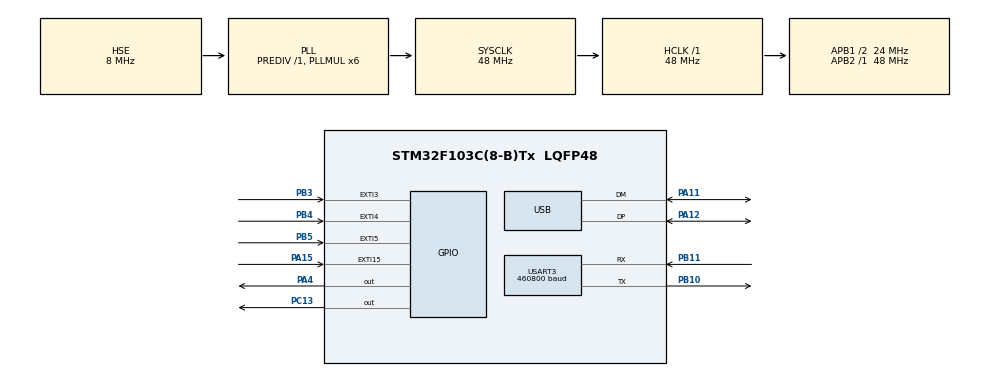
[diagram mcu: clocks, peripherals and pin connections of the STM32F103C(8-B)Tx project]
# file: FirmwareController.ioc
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Mcu.Family=STM32F1
Mcu.Name=STM32F103C(8-B)Tx
Mcu.Package=LQFP48
NVIC.EXTI15_10_IRQn=true\:0\:0\:false\:false\:true\:true\:true\:true
NVIC.EXTI3_IRQn=true\:0\:0\:false\:false\:true\:true\:true\:true
NVIC.EXTI4_IRQn=true\:0\:0\:false\:false\:true\:true\:true\:true
NVIC.EXTI9_5_IRQn=true\:0\:0\:false\:false\:true\:true\:true\:true
NVIC.PriorityGroup=NVIC_PRIORITYGROUP_4
NVIC.USART3_IRQn=true\:0\:0\:false\:false\:true\:true\:true\:true
NVIC.USB_HP_CAN1_TX_IRQn=true\:0\:0\:false\:false\:true\:true\:true\:true
NVIC.USB_LP_CAN1_RX0_IRQn=true\:0\:0\:false\:false\:true\:true\:true\:true
PA11.Mode=Device
PA11.Signal=USB_DM
PA12.Mode=Device
PA12.Signal=USB_DP
PA15.GPIO_ModeDefaultEXTI=GPIO_MODE_IT_RISING
PA15.Signal=GPXTI15
PA4.Signal=GPIO_Output
PB10.Mode=Asynchronous
PB10.Signal=USART3_TX
PB11.Mode=Asynchronous
PB11.Signal=USART3_RX
PB3.Signal=GPXTI3
PB4.Signal=GPXTI4
PB5.Signal=GPXTI5
PC13-TAMPER-RTC.Signal=GPIO_Output
PD0-OSC_IN.Mode=HSE-External-Oscillator
PD0-OSC_IN.Signal=RCC_OSC_IN
PD1-OSC_OUT.Mode=HSE-External-Oscillator
PD1-OSC_OUT.Signal=RCC_OSC_OUT
ProjectManager.HeapSize=0x200
ProjectManager.StackSize=0x400
ProjectManager.TargetToolchain=STM32CubeIDE
RCC.AHBFreq_Value=48000000
RCC.APB1CLKDivider=RCC_HCLK_DIV2
RCC.APB1Freq_Value=24000000
RCC.APB1TimFreq_Value=48000000
RCC.APB2Freq_Value=48000000
RCC.APB2TimFreq_Value=48000000
RCC.HCLKFreq_Value=48000000
RCC.PLLMUL=RCC_PLL_MUL6
RCC.PLLSourceVirtual=RCC_PLLSOURCE_HSE
RCC.SYSCLKFreq_VALUE=48000000
RCC.SYSCLKSource=RCC_SYSCLKSOURCE_PLLCLK
RCC.USBFreq_Value=48000000
TIM1.Prescaler=48 - 1
USART3.BaudRate=460800
USART3.VirtualMode=VM_ASYNC
USB_DEVICE.CLASS_NAME_FS=CDC
USB_DEVICE.VirtualMode=Cdc
USB_DEVICE.VirtualModeFS=Cdc_FS
VP_SYS_VS_ND.Mode=No_Debug
VP_TIM1_VS_ClockSourceINT.Mode=Internal
VP_USB_DEVICE_VS_USB_DEVICE_CDC_FS.Mode=CDC_FS
board=custom

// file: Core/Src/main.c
/* USER CODE BEGIN Header */
/**
  ******************************************************************************
  * @file           : main.c
  * @brief          : Main program body
  ******************************************************************************
  * @attention
  *
  * Copyright (c) 2026 STMicroelectronics.
  * All rights reserved.
  *
  * This software is licensed under terms that can be found in the LICENSE file
  * in the root directory of this software component.
  * If no LICENSE file comes with this software, it is provided AS-IS.
  *
  ******************************************************************************
  */
/* USER CODE END Header */
#include "main.h"
#include "usb_device.h"

/* USER CODE BEGIN Includes */
#include "usbd_cdc_if.h"
#include <stdbool.h>
/* USER CODE END Includes */

/* USER CODE BEGIN PD */
#define FRAME_DATA_LENGTH 589 // bytes
#define SWITCH_DATA_LENGTH 2 // bytes
#define CYCLE_MIN_US 26000
/* USER CODE END PD */

TIM_HandleTypeDef htim1;

UART_HandleTypeDef huart3;

/* USER CODE BEGIN PV */

uint8_t switch_data_buffer[SWITCH_DATA_LENGTH]; // received through UART (RS-485 bus)
uint8_t switch_data_tx_buffer[SWITCH_DATA_LENGTH]; // switch data copied here to be sent to computer over USB-CDC
uint8_t frame_data_buffer[FRAME_DATA_LENGTH];   // received through USB-CDC

uint8_t pending_frame_buffer[FRAME_DATA_LENGTH];
volatile bool frame_pending = false;

/* FLAGS */
volatile bool send_frame_flag = false;
volatile bool send_switch_data_flag = false;

volatile uint8_t resyncing = 0;
uint8_t sync_bytes[3];

typedef enum {
	IDLE,
	TRANSMITTING_FRAME_DATA
} State;

State state = IDLE;

/* USER CODE END PV */

void SystemClock_Config(void);
static void MX_GPIO_Init(void);
static void MX_USART3_UART_Init(void);
static void MX_TIM1_Init(void);

int main(void)
{

  /* MCU Configuration--------------------------------------------------------*/

  /* Reset of all peripherals, Initializes the Flash interface and the Systick. */
  HAL_Init();

  /* Configure the system clock */
  SystemClock_Config();

  /* Initialize all configured peripherals */
  MX_GPIO_Init();
  MX_USART3_UART_Init();
  MX_USB_DEVICE_Init();
  MX_TIM1_Init();
  /* USER CODE BEGIN 2 */

  HAL_UART_Receive_IT(&huart3, switch_data_buffer, SWITCH_DATA_LENGTH); // Initialize UART receive (module comms)

  HAL_GPIO_WritePin(GPIOA, GPIO_PIN_4, 0); // Pull DE pin low
  HAL_TIM_Base_Start(&htim1);

  /* USER CODE END 2 */

  /* Infinite loop */
	while (1)
	{

    /* USER CODE BEGIN 3 */
		if (state == IDLE) {
			if (frame_pending && (TIM1->CNT >= CYCLE_MIN_US)) {
				memcpy(frame_data_buffer, pending_frame_buffer, FRAME_DATA_LENGTH);
				frame_pending = false;

				HAL_GPIO_TogglePin(GPIOC, GPIO_PIN_13);
				HAL_GPIO_WritePin(GPIOA, GPIO_PIN_4, 1); // Pull DE pin HIGH
				HAL_UART_Transmit_IT(&huart3, frame_data_buffer, FRAME_DATA_LENGTH); // Transmit 589 bytes to modules
				state = TRANSMITTING_FRAME_DATA;
				__HAL_TIM_SET_COUNTER(&htim1, 0);
			}
			if (send_switch_data_flag) {
				CDC_Transmit_FS(switch_data_tx_buffer, SWITCH_DATA_LENGTH); // Transmit switch data (2bytes) to computer
				send_switch_data_flag = false;
			}
		}
		else if (state == TRANSMITTING_FRAME_DATA) {
			continue;
		}
	}
  /* USER CODE END 3 */
}

void SystemClock_Config(void)
{
  RCC_OscInitTypeDef RCC_OscInitStruct = {0};
  RCC_ClkInitTypeDef RCC_ClkInitStruct = {0};
  RCC_PeriphCLKInitTypeDef PeriphClkInit = {0};

  /** Initializes the RCC Oscillators according to the specified parameters
  * in the RCC_OscInitTypeDef structure.
  */
  RCC_OscInitStruct.OscillatorType = RCC_OSCILLATORTYPE_HSE;
  RCC_OscInitStruct.HSEState = RCC_HSE_ON;
  RCC_OscInitStruct.HSEPredivValue = RCC_HSE_PREDIV_DIV1;
  RCC_OscInitStruct.HSIState = RCC_HSI_ON;
  RCC_OscInitStruct.PLL.PLLState = RCC_PLL_ON;
  RCC_OscInitStruct.PLL.PLLSource = RCC_PLLSOURCE_HSE;
  RCC_OscInitStruct.PLL.PLLMUL = RCC_PLL_MUL6;
  if (HAL_RCC_OscConfig(&RCC_OscInitStruct) != HAL_OK)
  {
    Error_Handler();
  }

  /** Initializes the CPU, AHB and APB buses clocks
  */
  RCC_ClkInitStruct.ClockType = RCC_CLOCKTYPE_HCLK|RCC_CLOCKTYPE_SYSCLK
                              |RCC_CLOCKTYPE_PCLK1|RCC_CLOCKTYPE_PCLK2;
  RCC_ClkInitStruct.SYSCLKSource = RCC_SYSCLKSOURCE_PLLCLK;
  RCC_ClkInitStruct.AHBCLKDivider = RCC_SYSCLK_DIV1;
  RCC_ClkInitStruct.APB1CLKDivider = RCC_HCLK_DIV2;
  RCC_ClkInitStruct.APB2CLKDivider = RCC_HCLK_DIV1;

  if (HAL_RCC_ClockConfig(&RCC_ClkInitStruct, FLASH_LATENCY_1) != HAL_OK)
  {
    Error_Handler();
  }
  PeriphClkInit.PeriphClockSelection = RCC_PERIPHCLK_USB;
  PeriphClkInit.UsbClockSelection = RCC_USBCLKSOURCE_PLL;
  if (HAL_RCCEx_PeriphCLKConfig(&PeriphClkInit) != HAL_OK)
  {
    Error_Handler();
  }
}

static void MX_TIM1_Init(void)
{

  TIM_ClockConfigTypeDef sClockSourceConfig = {0};
  TIM_MasterConfigTypeDef sMasterConfig = {0};

  htim1.Instance = TIM1;
  htim1.Init.Prescaler = 48 - 1;
  htim1.Init.CounterMode = TIM_COUNTERMODE_UP;
  htim1.Init.Period = 65535;
  htim1.Init.ClockDivision = TIM_CLOCKDIVISION_DIV1;
  htim1.Init.RepetitionCounter = 0;
  htim1.Init.AutoReloadPreload = TIM_AUTORELOAD_PRELOAD_DISABLE;
  if (HAL_TIM_Base_Init(&htim1) != HAL_OK)
  {
    Error_Handler();
  }
  sClockSourceConfig.ClockSource = TIM_CLOCKSOURCE_INTERNAL;
  if (HAL_TIM_ConfigClockSource(&htim1, &sClockSourceConfig) != HAL_OK)
  {
    Error_Handler();
  }
  sMasterConfig.MasterOutputTrigger = TIM_TRGO_RESET;
  sMasterConfig.MasterSlaveMode = TIM_MASTERSLAVEMODE_DISABLE;
  if (HAL_TIMEx_MasterConfigSynchronization(&htim1, &sMasterConfig) != HAL_OK)
  {
    Error_Handler();
  }

}

static void MX_USART3_UART_Init(void)
{

  huart3.Instance = USART3;
  huart3.Init.BaudRate = 460800;
  huart3.Init.WordLength = UART_WORDLENGTH_8B;
  huart3.Init.StopBits = UART_STOPBITS_1;
  huart3.Init.Parity = UART_PARITY_NONE;
  huart3.Init.Mode = UART_MODE_TX_RX;
  huart3.Init.HwFlowCtl = UART_HWCONTROL_NONE;
  huart3.Init.OverSampling = UART_OVERSAMPLING_16;
  if (HAL_UART_Init(&huart3) != HAL_OK)
  {
    Error_Handler();
  }

}

static void MX_GPIO_Init(void)
{
  GPIO_InitTypeDef GPIO_InitStruct = {0};

  /* GPIO Ports Clock Enable */
  __HAL_RCC_GPIOC_CLK_ENABLE();
  __HAL_RCC_GPIOD_CLK_ENABLE();
  __HAL_RCC_GPIOA_CLK_ENABLE();
  __HAL_RCC_GPIOB_CLK_ENABLE();

  /*Configure GPIO pin Output Level */
  HAL_GPIO_WritePin(GPIOC, GPIO_PIN_13, GPIO_PIN_RESET);

  /*Configure GPIO pin Output Level */
  HAL_GPIO_WritePin(GPIOA, GPIO_PIN_4, GPIO_PIN_RESET);

  /*Configure GPIO pin : PC13 */
  GPIO_InitStruct.Pin = GPIO_PIN_13;
  GPIO_InitStruct.Mode = GPIO_MODE_OUTPUT_PP;
  GPIO_InitStruct.Pull = GPIO_NOPULL;
  GPIO_InitStruct.Speed = GPIO_SPEED_FREQ_LOW;
  HAL_GPIO_Init(GPIOC, &GPIO_InitStruct);

  /*Configure GPIO pin : PA4 */
  GPIO_InitStruct.Pin = GPIO_PIN_4;
  GPIO_InitStruct.Mode = GPIO_MODE_OUTPUT_PP;
  GPIO_InitStruct.Pull = GPIO_NOPULL;
  GPIO_InitStruct.Speed = GPIO_SPEED_FREQ_LOW;
  HAL_GPIO_Init(GPIOA, &GPIO_InitStruct);

  /*Configure GPIO pin : PA15 */
  GPIO_InitStruct.Pin = GPIO_PIN_15;
  GPIO_InitStruct.Mode = GPIO_MODE_IT_RISING;
  GPIO_InitStruct.Pull = GPIO_NOPULL;
  HAL_GPIO_Init(GPIOA, &GPIO_InitStruct);

  /*Configure GPIO pins : PB3 PB4 PB5 */
  GPIO_InitStruct.Pin = GPIO_PIN_3|GPIO_PIN_4|GPIO_PIN_5;
  GPIO_InitStruct.Mode = GPIO_MODE_IT_RISING;
  GPIO_InitStruct.Pull = GPIO_NOPULL;
  HAL_GPIO_Init(GPIOB, &GPIO_InitStruct);

  /* EXTI interrupt init*/
  HAL_NVIC_SetPriority(EXTI3_IRQn, 0, 0);
  HAL_NVIC_EnableIRQ(EXTI3_IRQn);

  HAL_NVIC_SetPriority(EXTI4_IRQn, 0, 0);
  HAL_NVIC_EnableIRQ(EXTI4_IRQn);

  HAL_NVIC_SetPriority(EXTI9_5_IRQn, 0, 0);
  HAL_NVIC_EnableIRQ(EXTI9_5_IRQn);

  HAL_NVIC_SetPriority(EXTI15_10_IRQn, 0, 0);
  HAL_NVIC_EnableIRQ(EXTI15_10_IRQn);

}

/* USER CODE BEGIN 4 */

void HAL_UART_ErrorCallback(UART_HandleTypeDef *huart) {
    __HAL_UART_CLEAR_PEFLAG(huart);   // clears ORE/NE/FE/PE flags on this family
    HAL_UART_Receive_IT(&huart3, switch_data_buffer, SWITCH_DATA_LENGTH);
}

/* Module switch data receive callback function */
void HAL_UART_RxCpltCallback(UART_HandleTypeDef *huart) {
	if (resyncing) {
		resyncing = 0;
		HAL_UART_Receive_IT(&huart3, switch_data_buffer, SWITCH_DATA_LENGTH);
		return;
	}
	/* If we are out of sync with microswitch data...eek!!!! */
	if (switch_data_buffer[1] & 0xF0) {
		resyncing = 1;
		HAL_UART_Receive_IT(&huart3, sync_bytes, 3);
		return;
	}
	if (state == IDLE) {
		send_switch_data_flag = true;
		memcpy(switch_data_tx_buffer, switch_data_buffer, SWITCH_DATA_LENGTH);
	}
	HAL_UART_Receive_IT(&huart3, switch_data_buffer, SWITCH_DATA_LENGTH);
}

/* Frame data transmit completed callback function */
void HAL_UART_TxCpltCallback(UART_HandleTypeDef *huart) {
	HAL_GPIO_WritePin(GPIOA, GPIO_PIN_4, 0); // Pull DE pin low
	state = IDLE;
}

/* USER CODE END 4 */

void Error_Handler(void)
{
  __disable_irq();
  while (1)
  {
  }
}
